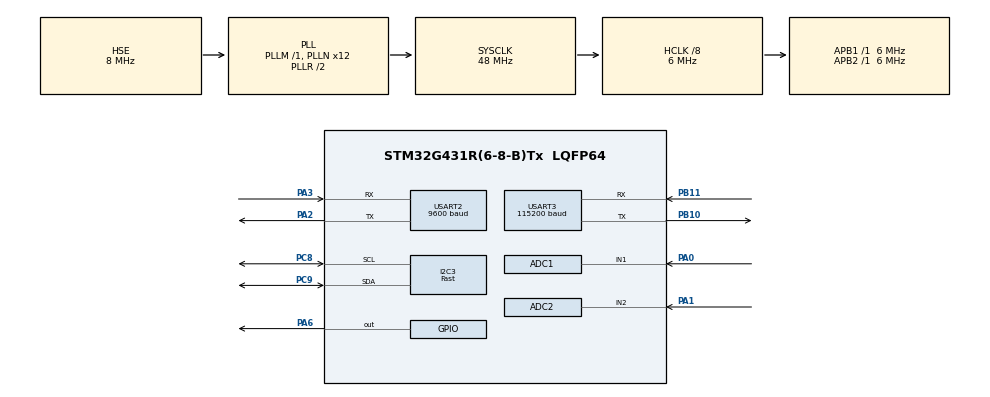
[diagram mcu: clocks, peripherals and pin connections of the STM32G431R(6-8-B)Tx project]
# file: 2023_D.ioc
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ADC1.Channel-0\#ChannelRegularConversion=ADC_CHANNEL_1
ADC1.ExternalTrigConv=ADC_EXTERNALTRIG_T3_TRGO
ADC1.NbrOfConversionFlag=1
ADC1.OffsetNumber-0\#ChannelRegularConversion=ADC_OFFSET_NONE
ADC1.Rank-0\#ChannelRegularConversion=1
ADC1.Resolution=ADC_RESOLUTION_12B
ADC1.SamplingTime-0\#ChannelRegularConversion=ADC_SAMPLETIME_2CYCLES_5
ADC1.master=1
ADC2.Channel-0\#ChannelRegularConversion=ADC_CHANNEL_2
ADC2.ExternalTrigConv=ADC_EXTERNALTRIG_T3_TRGO
ADC2.NbrOfConversionFlag=1
ADC2.OffsetNumber-0\#ChannelRegularConversion=ADC_OFFSET_NONE
ADC2.Rank-0\#ChannelRegularConversion=1
ADC2.SamplingTime-0\#ChannelRegularConversion=ADC_SAMPLETIME_2CYCLES_5
Dma.ADC1.0.Direction=DMA_PERIPH_TO_MEMORY
Dma.ADC1.0.EventEnable=DISABLE
Dma.ADC1.0.Instance=DMA1_Channel1
Dma.ADC1.0.MemDataAlignment=DMA_MDATAALIGN_HALFWORD
Dma.ADC1.0.MemInc=DMA_MINC_ENABLE
Dma.ADC1.0.Mode=DMA_NORMAL
Dma.ADC1.0.PeriphDataAlignment=DMA_PDATAALIGN_HALFWORD
Dma.ADC1.0.PeriphInc=DMA_PINC_DISABLE
Dma.ADC1.0.Polarity=HAL_DMAMUX_REQ_GEN_RISING
Dma.ADC1.0.Priority=DMA_PRIORITY_LOW
Dma.ADC1.0.RequestNumber=1
Dma.ADC1.0.SignalID=NONE
Dma.ADC1.0.SyncEnable=DISABLE
Dma.ADC1.0.SyncPolarity=HAL_DMAMUX_SYNC_NO_EVENT
Dma.ADC1.0.SyncRequestNumber=1
Dma.ADC1.0.SyncSignalID=NONE
Dma.ADC2.1.Direction=DMA_PERIPH_TO_MEMORY
Dma.ADC2.1.EventEnable=DISABLE
Dma.ADC2.1.Instance=DMA1_Channel2
Dma.ADC2.1.MemDataAlignment=DMA_MDATAALIGN_HALFWORD
Dma.ADC2.1.MemInc=DMA_MINC_ENABLE
Dma.ADC2.1.Mode=DMA_NORMAL
Dma.ADC2.1.PeriphDataAlignment=DMA_PDATAALIGN_HALFWORD
Dma.ADC2.1.PeriphInc=DMA_PINC_DISABLE
Dma.ADC2.1.Polarity=HAL_DMAMUX_REQ_GEN_RISING
Dma.ADC2.1.Priority=DMA_PRIORITY_LOW
Dma.ADC2.1.RequestNumber=1
Dma.ADC2.1.SignalID=NONE
Dma.ADC2.1.SyncEnable=DISABLE
Dma.ADC2.1.SyncPolarity=HAL_DMAMUX_SYNC_NO_EVENT
Dma.ADC2.1.SyncRequestNumber=1
Dma.ADC2.1.SyncSignalID=NONE
Dma.Request0=ADC1
Dma.Request1=ADC2
I2C3.I2C_Speed_Mode=I2C_Fast
I2C3.Timing=0x00000107
Mcu.Family=STM32G4
Mcu.Name=STM32G431R(6-8-B)Tx
Mcu.Package=LQFP64
NVIC.ADC1_2_IRQn=true\:0\:0\:false\:false\:true\:true\:true\:true
NVIC.DMA1_Channel1_IRQn=true\:0\:0\:false\:false\:true\:false\:true\:true
NVIC.DMA1_Channel2_IRQn=true\:0\:0\:false\:false\:true\:false\:true\:true
NVIC.PriorityGroup=NVIC_PRIORITYGROUP_4
NVIC.TIM3_IRQn=true\:0\:0\:false\:false\:true\:true\:true\:true
NVIC.USART2_IRQn=true\:0\:0\:false\:false\:true\:true\:true\:true
NVIC.USART3_IRQn=true\:0\:0\:false\:false\:true\:true\:true\:true
PA0.Mode=IN1-Single-Ended
PA0.Signal=ADC1_IN1
PA1.Mode=IN2-Single-Ended
PA1.Signal=ADC2_IN2
PA13.Mode=Serial_Wire
PA13.Signal=SYS_JTMS-SWDIO
PA14.Mode=Serial_Wire
PA14.Signal=SYS_JTCK-SWCLK
PA2.Mode=Asynchronous
PA2.Signal=USART2_TX
PA3.Mode=Asynchronous
PA3.Signal=USART2_RX
PA6.Signal=GPIO_Output
PB10.Mode=Asynchronous
PB10.Signal=USART3_TX
PB11.Mode=Asynchronous
PB11.Signal=USART3_RX
PC14-OSC32_IN.Mode=LSE-External-Oscillator
PC14-OSC32_IN.Signal=RCC_OSC32_IN
PC15-OSC32_OUT.Mode=LSE-External-Oscillator
PC15-OSC32_OUT.Signal=RCC_OSC32_OUT
PC8.Mode=I2C
PC8.Signal=I2C3_SCL
PC9.Mode=I2C
PC9.Signal=I2C3_SDA
PF0-OSC_IN.Mode=HSE-External-Oscillator
PF0-OSC_IN.Signal=RCC_OSC_IN
PF1-OSC_OUT.Mode=HSE-External-Oscillator
PF1-OSC_OUT.Signal=RCC_OSC_OUT
ProjectManager.HeapSize=0x800
ProjectManager.StackSize=0x1600
ProjectManager.TargetToolchain=Makefile
RCC.ADC12Freq_Value=48000000
RCC.AHBCLKDivider=RCC_SYSCLK_DIV8
RCC.AHBFreq_Value=6000000
RCC.APB1Freq_Value=6000000
RCC.APB1TimFreq_Value=6000000
RCC.APB2Freq_Value=6000000
RCC.APB2TimFreq_Value=6000000
RCC.CortexFreq_Value=6000000
RCC.EXTERNAL_CLOCK_VALUE=12288000
RCC.HCLKFreq_Value=6000000
RCC.HSE_VALUE=8000000
RCC.HSI48_VALUE=48000000
RCC.HSI_VALUE=16000000
RCC.PLLN=12
RCC.PLLSourceVirtual=RCC_PLLSOURCE_HSE
RCC.SYSCLKFreq_VALUE=48000000
RCC.SYSCLKSource=RCC_SYSCLKSOURCE_PLLCLK
RCC.USBFreq_Value=48000000
RCC.VCOOutputFreq_Value=96000000
TIM3.PeriodNoDither=99
TIM3.Prescaler=29
TIM3.TIM_MasterOutputTrigger=TIM_TRGO_UPDATE
USART2.BaudRate=9600
USART2.VirtualMode-Asynchronous=VM_ASYNC
USART3.BaudRate=115200
USART3.VirtualMode-Asynchronous=VM_ASYNC
VP_SYS_VS_DBSignals.Mode=DisableDeadBatterySignals
VP_TIM3_VS_ClockSourceINT.Mode=Internal
board=custom

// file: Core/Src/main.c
/* USER CODE BEGIN Header */
/**
  ******************************************************************************
  * @file           : main.c
  * @brief          : Main program body
  ******************************************************************************
  * @attention
  *
  * Copyright (c) 2025 STMicroelectronics.
  * All rights reserved.
  *
  * This software is licensed under terms that can be found in the LICENSE file
  * in the root directory of this software component.
  * If no LICENSE file comes with this software, it is provided AS-IS.
  *
  ******************************************************************************
  */
/* USER CODE END Header */
#include "main.h"
#include "adc.h"
#include "dma.h"
#include "i2c.h"
#include "tim.h"
#include "usart.h"
#include "gpio.h"

/* USER CODE BEGIN Includes */
#include "FFT.h"
#include "oled.h"
#include "font.h"
#include "stdio.h"

/* USER CODE END Includes */

/* USER CODE BEGIN PTD */
uint8_t  RxBuffer[1];
uint8_t  TXBuffer[1]={1};

/* USER CODE END PTD */

void SystemClock_Config(void);

int main(void)
{

  /* USER CODE BEGIN 1 */
  setvbuf(stdout, NULL, _IONBF, 0);  // 禁止缓冲，立即输出

  /* USER CODE END 1 */

  /* MCU Configuration--------------------------------------------------------*/

  /* Reset of all peripherals, Initializes the Flash interface and the Systick. */
  HAL_Init();

  /* Configure the system clock */
  SystemClock_Config();

  /* Initialize all configured peripherals */
  MX_GPIO_Init();
  MX_DMA_Init();
  MX_I2C3_Init();
  MX_USART3_UART_Init();
  MX_ADC1_Init();
  MX_TIM3_Init();
  MX_USART2_UART_Init();
  MX_ADC2_Init();
  /* USER CODE BEGIN 2 */
  OLED_Init();
  HAL_Delay(20);

  HAL_TIM_Base_Start(&htim3);//定时器触发ADC转换
  HAL_UART_Receive_IT(&huart3,RxBuffer,1);
  /* USER CODE END 2 */

  /* Infinite loop */
  /* USER CODE BEGIN WHILE */
  while (1)
  {
    HAL_Delay(2);
    if (RxBuffer[0]==1)
     {
     HAL_ADC_Start_DMA(&hadc1, (uint32_t*)&ADC_Value, 512);
     HAL_ADC_Start_DMA(&hadc2, (uint32_t*)&ADC_Value2, 512);
     HAL_Delay(300);
     HAL_ADC_Stop_DMA(&hadc1);
     HAL_ADC_Stop_DMA(&hadc2);
     ADC_FFT(ADC_Value);
     ADC_FFT2(ADC_Value2);
     FFT_test();
     RxBuffer[0] = 0;
     HAL_UART_Receive_IT(&huart3,RxBuffer,1);

     }

    /* USER CODE END WHILE */

  }
}

void SystemClock_Config(void)
{
  RCC_OscInitTypeDef RCC_OscInitStruct = {0};
  RCC_ClkInitTypeDef RCC_ClkInitStruct = {0};

  /** Configure the main internal regulator output voltage
  */
  HAL_PWREx_ControlVoltageScaling(PWR_REGULATOR_VOLTAGE_SCALE1);

  /** Initializes the RCC Oscillators according to the specified parameters
  * in the RCC_OscInitTypeDef structure.
  */
  RCC_OscInitStruct.OscillatorType = RCC_OSCILLATORTYPE_HSE;
  RCC_OscInitStruct.HSEState = RCC_HSE_ON;
  RCC_OscInitStruct.PLL.PLLState = RCC_PLL_ON;
  RCC_OscInitStruct.PLL.PLLSource = RCC_PLLSOURCE_HSE;
  RCC_OscInitStruct.PLL.PLLM = RCC_PLLM_DIV1;
  RCC_OscInitStruct.PLL.PLLN = 12;
  RCC_OscInitStruct.PLL.PLLP = RCC_PLLP_DIV2;
  RCC_OscInitStruct.PLL.PLLQ = RCC_PLLQ_DIV2;
  RCC_OscInitStruct.PLL.PLLR = RCC_PLLR_DIV2;
  if (HAL_RCC_OscConfig(&RCC_OscInitStruct) != HAL_OK)
  {
    Error_Handler();
  }

  /** Initializes the CPU, AHB and APB buses clocks
  */
  RCC_ClkInitStruct.ClockType = RCC_CLOCKTYPE_HCLK|RCC_CLOCKTYPE_SYSCLK
                              |RCC_CLOCKTYPE_PCLK1|RCC_CLOCKTYPE_PCLK2;
  RCC_ClkInitStruct.SYSCLKSource = RCC_SYSCLKSOURCE_PLLCLK;
  RCC_ClkInitStruct.AHBCLKDivider = RCC_SYSCLK_DIV8;
  RCC_ClkInitStruct.APB1CLKDivider = RCC_HCLK_DIV1;
  RCC_ClkInitStruct.APB2CLKDivider = RCC_HCLK_DIV1;

  if (HAL_RCC_ClockConfig(&RCC_ClkInitStruct, FLASH_LATENCY_0) != HAL_OK)
  {
    Error_Handler();
  }
}

void Error_Handler(void)
{
  __disable_irq();
  while (1)
  {
  }
}
